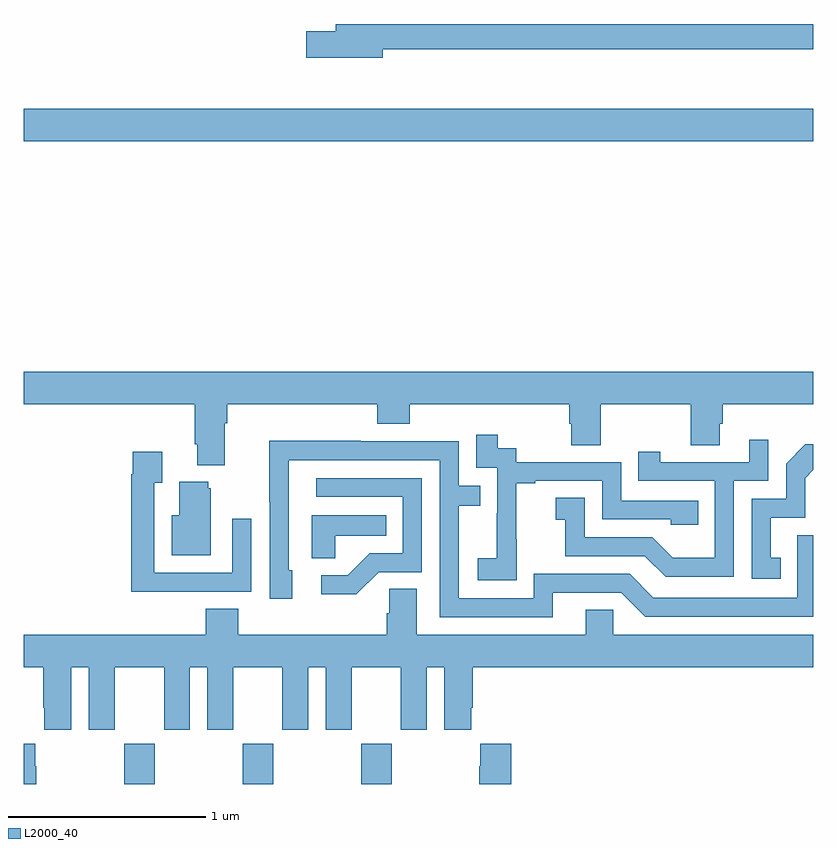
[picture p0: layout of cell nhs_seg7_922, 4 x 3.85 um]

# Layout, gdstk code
import gdstk
lib = gdstk.Library(unit=1e-6, precision=1e-09)
def R(c, l, rs):  # rectangles x0, y0, x1, y1
    for r in rs: c.add(gdstk.rectangle(r[:2], r[2:], *l))
def A(c, l, x, y, w, h, nx, ny, dx, dy):  # array of equal rectangles
    R(c, l, [(x+i*dx, y+j*dy, x+i*dx+w, y+j*dy+h) for i in range(nx) for j in range(ny)])
def P(c, l, *ps):  # polygons
    for p in ps: c.add(gdstk.Polygon(p, *l))
L2000_40 = (2000, 40)

nhs_seg7_922 = lib.new_cell('nhs_seg7_922')
A(nhs_seg7_922, L2000_40, 179.509, 1024, 0.155, 0.204, 3, 1, 0.6, 0)
R(nhs_seg7_922, L2000_40, [(179,1027.256,183,1027.42)])
P(nhs_seg7_922, L2000_40, [(180.82,1027.722),(183,1027.722),(183,1027.85),(180.581,1027.85),(180.581,1027.814),(180.432,1027.814),(180.432,1027.679),(180.82,1027.679)],
  [(179,1025.924),(179.867,1025.924),(179.867,1025.722),(179.879,1025.722),(179.879,1025.615),(180.019,1025.615),(180.019,1025.828),(180.032,1025.828),(180.032,1025.924),(180.791,1025.924),(180.791,1025.825),(180.956,1025.825),(180.956,1025.924),(181.763,1025.924),(181.763,1025.826),(181.775,1025.826),(181.775,1025.716),(181.923,1025.716),(181.923,1025.924),(182.38,1025.924),(182.38,1025.716),(182.527,1025.716),(182.527,1025.826),(182.54,1025.826),(182.54,1025.924),(183,1025.924),(183,1026.088),(179,1026.088)],
  [(181.497,1025.239),(181.496,1025.239),(181.496,1025.523),(181.591,1025.523),(181.591,1025.535),(181.932,1025.535),(181.932,1025.34),(182.277,1025.34),(182.277,1025.313),(182.417,1025.313),(182.417,1025.436),(182.028,1025.436),(182.028,1025.631),(181.494,1025.631),(181.494,1025.7),(181.402,1025.7),(181.402,1025.77),(181.293,1025.77),(181.293,1025.601),(181.398,1025.601),(181.398,1025.372),(181.397,1025.372),(181.397,1025.143),(181.299,1025.143),(181.299,1025.033),(181.497,1025.033)],
  [(182.598,1025.535),(182.772,1025.535),(182.772,1025.743),(182.675,1025.743),(182.675,1025.631),(182.224,1025.631),(182.224,1025.683),(182.113,1025.683),(182.113,1025.535),(182.502,1025.535),(182.502,1025.146),(182.288,1025.146),(182.184,1025.25),(181.842,1025.25),(181.842,1025.449),(181.695,1025.449),(181.695,1025.339),(181.744,1025.339),(181.744,1025.154),(182.147,1025.154),(182.252,1025.049),(182.598,1025.049)],
  [(181.681,1024.968),(182.028,1024.968),(182.148,1024.848),(183,1024.848),(183,1025.259),(182.919,1025.259),(182.919,1024.944),(182.19,1024.944),(182.07,1025.064),(181.584,1025.064),(181.584,1024.941),(181.203,1024.941),(181.203,1025.41),(181.313,1025.41),(181.313,1025.511),(181.203,1025.511),(181.203,1025.736),(180.707,1025.736),(180.707,1025.738),(180.244,1025.738),(180.244,1025.431),(180.246,1025.431),(180.246,1024.938),(180.361,1024.938),(180.361,1025.082),(180.342,1025.082),(180.342,1025.64),(181.107,1025.64),(181.107,1024.845),(181.681,1024.845)],
  [(182.834,1025.145),(182.785,1025.145),(182.785,1025.349),(182.958,1025.349),(182.958,1025.55),(183,1025.592),(183,1025.72),(182.96,1025.72),(182.862,1025.622),(182.862,1025.445),(182.688,1025.445),(182.688,1025.04),(182.834,1025.04)],
  [(179.837,1024.974),(180.153,1024.974),(180.153,1025.344),(180.057,1025.344),(180.057,1025.07),(179.661,1025.07),(179.661,1025.527),(179.701,1025.527),(179.701,1025.683),(179.553,1025.683),(179.553,1025.57),(179.545,1025.57),(179.545,1024.973),(179.837,1024.973)],
  [(180.798,1025.073),(181.017,1025.073),(181.017,1025.55),(180.483,1025.55),(180.483,1025.454),(180.921,1025.454),(180.921,1025.169),(180.752,1025.169),(180.641,1025.058),(180.507,1025.058),(180.507,1024.961),(180.685,1024.961)],
  [(179.947,1025.499),(179.936,1025.499),(179.936,1025.53),(179.789,1025.53),(179.789,1025.362),(179.75,1025.362),(179.75,1025.159),(179.947,1025.159)],
  [(180.579,1025.258),(180.836,1025.258),(180.836,1025.362),(180.458,1025.362),(180.458,1025.143),(180.579,1025.143)],
  [(180.991,1024.988),(180.852,1024.988),(180.852,1024.865),(180.839,1024.865),(180.839,1024.756),(180.086,1024.756),(180.086,1024.889),(179.921,1024.889),(179.921,1024.756),(179,1024.756),(179,1024.592),(179.099,1024.592),(179.099,1024.387),(179.105,1024.387),(179.105,1024.275),(179.242,1024.275),(179.242,1024.592),(179.33,1024.592),(179.33,1024.275),(179.461,1024.275),(179.461,1024.592),(179.711,1024.592),(179.711,1024.275),(179.842,1024.275),(179.842,1024.592),(179.93,1024.592),(179.93,1024.275),(180.061,1024.275),(180.061,1024.592),(180.311,1024.592),(180.311,1024.275),(180.442,1024.275),(180.442,1024.592),(180.53,1024.592),(180.53,1024.275),(180.661,1024.275),(180.661,1024.592),(180.911,1024.592),(180.911,1024.275),(181.042,1024.275),(181.042,1024.592),(181.13,1024.592),(181.13,1024.275),(181.267,1024.275),(181.267,1024.387),(181.274,1024.387),(181.274,1024.592),(183,1024.592),(183,1024.756),(181.986,1024.756),(181.986,1024.883),(181.847,1024.883),(181.847,1024.756),(180.991,1024.756)],
  [(181.469,1024.204),(181.313,1024.204),(181.313,1024.091),(181.309,1024.091),(181.309,1024),(181.469,1024)],
  [(179.064,1024.091),(179.059,1024.091),(179.059,1024.204),(179,1024.204),(179,1024),(179.064,1024)])

lib.write_gds('nhs_seg7_922.gds')
